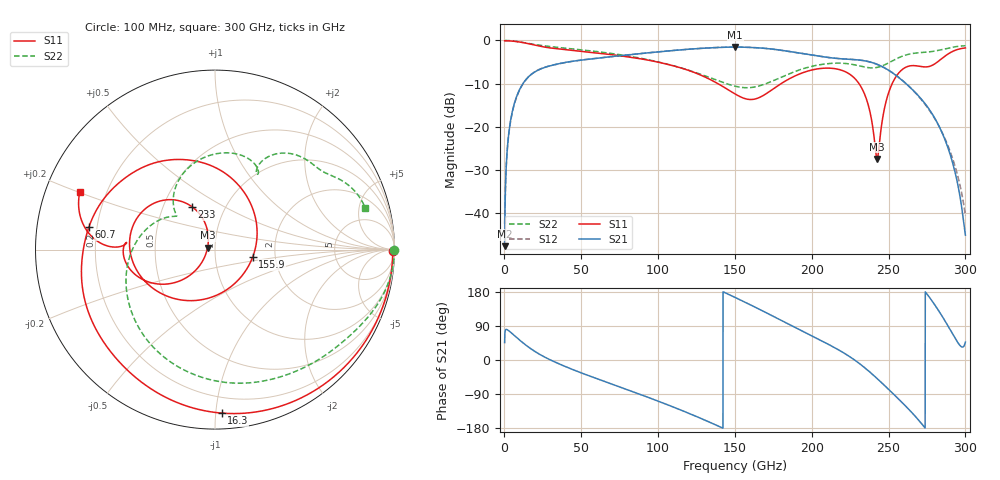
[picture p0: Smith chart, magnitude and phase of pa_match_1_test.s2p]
! Created with skrf (http://scikit-rf.org).
# Hz S RI R 50.0
!freq ReS11 ImS11 ReS21 ImS21 ReS12 ImS12 ReS22 ImS22
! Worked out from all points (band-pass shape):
!   3000 points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, 100 MHz to 300 GHz, reference 50 ohm
!   highest |S21| = -1.54 dB at 150.2 GHz (marker M1); lowest = -47.6 dB at 100 MHz (marker M2)
!   |S21| within 3 dB of the highest: 50.35 GHz to 231 GHz (180.7 GHz wide, 128 % of centre)
!   lowest |S11| = -27.4 dB at 242.5 GHz (marker M3), VSWR 1.09, Z = 46 + j0.919 ohm
!   |S11| at or under -10 dB: 139 GHz to 180 GHz (41.06 GHz wide, 25.7 % of centre); 230.8 GHz to 252.3 GHz (21.56 GHz wide, 8.93 % of centre)
!   |S22| runs from -10.9 to 0.0 dB; largest |S21 - S12| = 0.0073
!   S11 on the Smith chart (normalised r, x): 100 MHz: open; 16.3 GHz: 0.10, -1.04; 60.7 GHz: 0.17, +0.09; 155.9 GHz: 1.53, -0.13; 233 GHz: 0.70, +0.36; 300 GHz: 0.10, +0.20
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1e8  0.9905 -0.0105  0.00291 0.003  0.00701 0.00289  0.9994 -0.00319
2.1e9  0.965 -0.2169  0.0118 0.0621  0.0153 0.06  0.9951 -0.0666
4.4e9  0.8819 -0.4368  0.0406 0.1238  0.0423 0.1201  0.9813 -0.1372
1.02e10  0.4969 -0.8179  0.1734 0.2178  0.17 0.2159  0.9137 -0.2919
1.63e10  0.0363 -0.9109  0.3293 0.2075  0.3271 0.2106  0.8201 -0.4121
3.04e10  -0.5647 -0.5896  0.5125 -0.0067  0.5129 -0.00868  0.6004 -0.5979
5.01e10  -0.7426 -0.0767  0.4898 -0.333  0.4929 -0.3318  0.2573 -0.7342
6.07e10  -0.7021 0.1268  0.4007 -0.4777  0.4009 -0.4775  0.0557 -0.7396
1.001e11  -0.2543 0.4995  -0.2368 -0.6986  -0.2335 -0.7007  -0.4811 -0.294
1.299e11  0.1316 0.3586  -0.7527 -0.3085  -0.7523 -0.3124  -0.3739 0.1216
1.501e11  0.2331 0.0589  -0.8096 0.215  -0.8097 0.2117  -0.2308 0.185
1.502e11  0.233 0.0572  -0.8088 0.2178  -0.809 0.2144  -0.2304 0.185
1.559e11  0.2104 -0.0404  -0.7493 0.3687  -0.7508 0.3647  -0.216 0.1853
1.778e11  -0.0955 -0.2823  -0.2595 0.7361  -0.2631 0.7327  -0.2329 0.275
2.001e11  -0.4443 -0.0997  0.2983 0.6086  0.2934 0.6104  -0.1017 0.4916
2.33e11  -0.128 0.2387  0.5655 -0.1575  0.5665 -0.1536  0.2417 0.4358
2.425e11  -0.0415 0.00997  0.3495 -0.3985  0.3529 -0.3935  0.2304 0.4294
2.501e11  -0.1847 -0.1695  0.0956 -0.441  0.1018 -0.44  0.2569 0.4882
2.657e11  -0.5113 -0.0184  -0.2088 -0.1683  -0.2073 -0.1685  0.4843 0.5145
2.834e11  -0.5922 0.0184  -0.0558 0.0797  -0.0604 0.0765  0.6577 0.409
2.929e11  -0.745 0.1667  0.0158 0.0277  0.0166 0.0329  0.7748 0.3301
3e11  -0.7533 0.322  0.00381 0.00411  0.00928 0.00141  0.8373 0.2324
